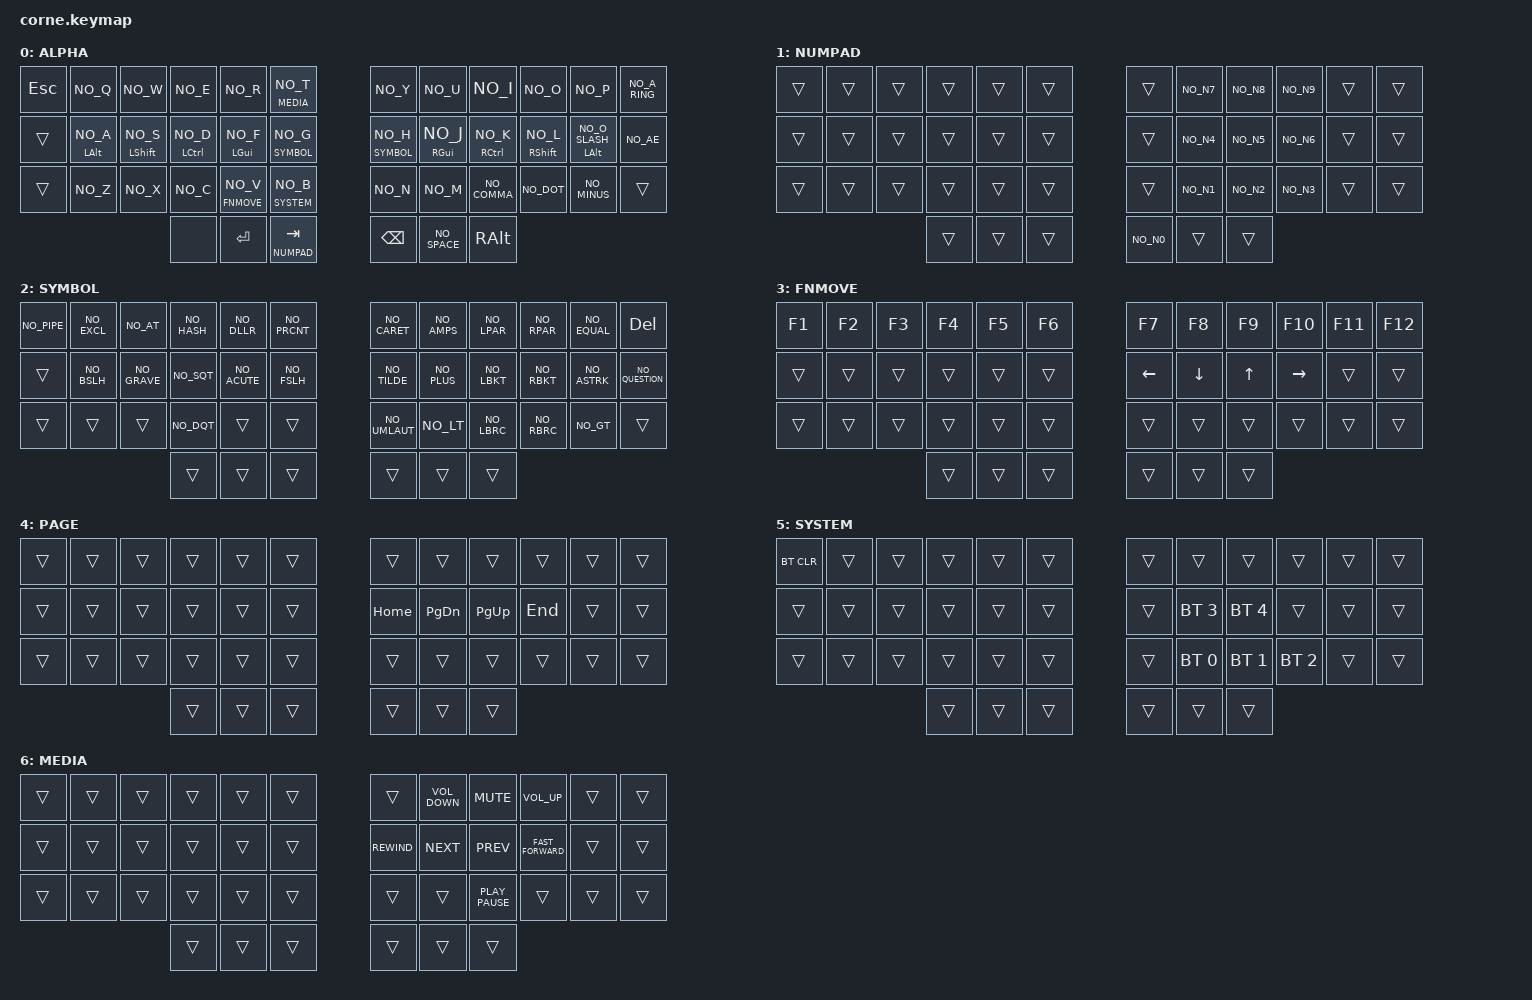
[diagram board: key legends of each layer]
/*
 * Copyright (c) 2020 The ZMK Contributors
 *
 * SPDX-License-Identifier: MIT
 */

#include <behaviors.dtsi>
#include <dt-bindings/zmk/keys.h>
#include <dt-bindings/zmk/bt.h>
#include "keys_no.h"

#define ALPHA  0
#define NUMPAD 1
#define SYMBOL 2
#define FNMOVE 3
#define PAGE 4
#define SYSTEM 5
#define MEDIA 6

/ {
    combos {
        compatible = "zmk,combos";
        combo_double_shift {
            timeout-ms = <50>;
            key-positions = <14 21>; // Position of left shift and right shift
            bindings = <&kp LSHIFT>;
        };
        combo_super_alt {
            timeout-ms = <50>;
            key-positions = <13 16>; // Position of left alt and left gui
            bindings = <&mo PAGE>;
        };
    };

    behaviors {
        hml: home_row_mod_left {
            compatible = "zmk,behavior-hold-tap";
            #binding-cells = <2>;
            flavor = "balanced";
            require-prior-idle-ms = <100>;
            tapping-term-ms = <280>;
            quick-tap-ms = <175>;
            bindings = <&kp>, <&kp>;
            hold-trigger-key-positions = < 6 7 8 9 10 11 18 19 20 21 22 23 30 31 32 33 34 35 39 40 41 >;
            hold-trigger-on-release;
        };
        hmr: home_row_mod_right {
            compatible = "zmk,behavior-hold-tap";
            #binding-cells = <2>;
            flavor = "balanced";
            require-prior-idle-ms = <100>;
            tapping-term-ms = <280>;
            quick-tap-ms = <175>;
            bindings = <&kp>, <&kp>;
            hold-trigger-key-positions = < 0 1 2 3 4 5 12 13 14 15 16 17 24 25 26 27 28 29 36 37 38 >;
            hold-trigger-on-release;
        };
    };

    keymap {
        compatible = "zmk,keymap";

        default_layer {
            display-name = "ALPHA";

// ----------------------------------------------------          ---------------------------------------------------
// | ESC |   Q   |    W    |   E    |   R   |    T    |          |   Y    |   U   |    I   |    O    |   P   |  Å  |
// |     |       |         |        |       | _MEDLR  |          |        |       |        |         |       |     |
// ----------------------------------------------------          ---------------------------------------------------
// |     |   A   |    S    |   D    |   F   |    G    |          |   H    |   J   |    K   |    L    |   Ø   |  Æ  |
// |     | _LALT | _LSHIFT | _LCTRL | _LGUI | _SYMLR  |          | _SYMLR | _RGUI | _RCTRL | _RSHIFT | _LALT |     |
// ----------------------------------------------------          ---------------------------------------------------
// |     |   Z   |    X    |   C    |   V   |    B    |          |   N    |   M   |    ,   |    .    |   -   |     |
// |     |       |         |        | _MOVE | _SYSLR  |          |        |       |        |         |       |     |
// ----------------------------------------------------          ---------------------------------------------------
//                         |        | ENTER |   TAB   |          |  BSPC  | SPACE | ALT GR |
//                         |        |       | _NUMPAD |          |        |       |        |
//                         ----------------------------          ---------------------------
           bindings = <

                                   &kp ESC &kp NO_Q &kp NO_W &kp NO_E &kp NO_R &lt MEDIA NO_T            &kp NO_Y &kp NO_U &kp NO_I &kp NO_O &kp NO_P &kp NO_A_RING

        &trans &hml LALT NO_A &hml LSHIFT NO_S &hml LCTRL NO_D &hml LGUI NO_F &lt SYMBOL NO_G            &lt SYMBOL NO_H &hmr RGUI NO_J &hmr RCTRL NO_K &hmr RSHIFT NO_L &hmr LALT NO_O_SLASH &kp NO_AE

                                   &trans &kp NO_Z &kp NO_X &kp NO_C &lt FNMOVE NO_V &lt SYSTEM NO_B            &kp NO_N &kp NO_M &kp NO_COMMA &kp NO_DOT &kp NO_MINUS &trans

                                                            &none &kp RET &lt NUMPAD TAB            &kp BSPC &kp NO_SPACE &kp RALT

            >;

        };


        numpad_layer {
            display-name = "NUMPAD";

// --------------------------------------          --------------------------------------
// |      |     |     |     |     |     |          |     |  7  |  8  |  9  |     |      |
// --------------------------------------          --------------------------------------
// |      |     |     |     |     |     |          |     |  4  |  5  |  6  |     |      |
// --------------------------------------          --------------------------------------
// |      |     |     |     |     |     |          |     |  1  |  2  |  3  |     |      |
// --------------------------------------          --------------------------------------
//                    |     |     |     |          |  0  |     |     |
//                    -------------------           -------------------
            bindings = <

&trans &trans &trans &trans &trans &trans           &trans &kp NO_N7 &kp NO_N8 &kp NO_N9 &trans &trans

&trans &trans &trans &trans &trans &trans           &trans &kp NO_N4 &kp NO_N5 &kp NO_N6 &trans &trans

&trans &trans &trans &trans &trans &trans           &trans &kp NO_N1 &kp NO_N2 &kp NO_N3 &trans &trans

                     &trans &trans &trans           &kp NO_N0 &trans &trans
            >;
        };

        symbol_layer {
            display-name = "SYMBOL";

// -------------------------------------          -------------------------------------
// | "|" |  !  |  @  |  #  |  $  |  %  |          |  ^  |  &  |  (  |  )  |  =  | DEL |
// -------------------------------------          -------------------------------------
// |     |  \  |  `  |  '  |  ´  |  /  |          |  ~  |  +  |  [  |  ]  |  *  |  ?  |
// -------------------------------------          -------------------------------------
// |     |     |     |  "  |     |     |          |  ¨  |  <  |  {  |  }  |  >  |     |
// -------------------------------------          -------------------------------------
//                   |     |     |     |          |     |     |     |
//                   -------------------          -------------------
            bindings = <

&kp NO_PIPE &kp NO_EXCL &kp NO_AT &kp NO_HASH &kp NO_DLLR &kp NO_PRCNT                  &kp NO_CARET &kp NO_AMPS &kp NO_LPAR &kp NO_RPAR &kp NO_EQUAL &kp DEL

   &trans &kp NO_BSLH &kp NO_GRAVE &kp NO_SQT &kp NO_ACUTE &kp NO_FSLH                  &kp NO_TILDE &kp NO_PLUS &kp NO_LBKT &kp NO_RBKT &kp NO_ASTRK &kp NO_QUESTION

                         &trans &trans &trans &kp NO_DQT &trans &trans                  &kp NO_UMLAUT &kp NO_LT &kp NO_LBRC &kp NO_RBRC &kp NO_GT &trans

                                                  &trans &trans &trans                  &trans &trans &trans

            >;
        };


        move_layer {
            display-name = "FNMOVE";

// --------------------------------------          ------------------------------------------
// |  F1  | F2  | F3  | F4  | F5  | F6  |          |  F7  |  F8  |  F9  |  F10  | F11 | F12 |
// --------------------------------------          ------------------------------------------
// |      |     |     |     |     |     |          | LEFT | DOWN |  UP  | RIGHT |     |     |
// --------------------------------------          ------------------------------------------
// |      |     |     |     |     |     |          |      |      |      |       |     |     |
// --------------------------------------          ------------------------------------------
//                    |     |     |     |          |      |      |      |
//                    -------------------          ----------------------
            bindings = <

&kp F1 &kp F2 &kp F3 &kp F4 &kp F5 &kp F6           &kp F7 &kp F8 &kp F9 &kp F10 &kp F11 &kp F12

&trans &trans &trans &trans &trans &trans           &kp LEFT &kp DOWN &kp UP &kp RIGHT &trans &trans

&trans &trans &trans &trans &trans &trans           &trans &trans &trans &trans &trans &trans

                     &trans &trans &trans           &trans &trans &trans
            >;
        };


        page_layer {
            display-name = "PAGE";

// --------------------------------------          ------------------------------------------
// |      |     |     |     |     |     |          |      |      |      |       |     |     |
// --------------------------------------          ------------------------------------------
// |      |     |     |     |     |     |          | HOME | P DN | P UP | END   |     |     |
// --------------------------------------          ------------------------------------------
// |      |     |     |     |     |     |          |      |      |      |       |     |     |
// --------------------------------------          ------------------------------------------
//                    |     |     |     |          |      |      |      |
//                    -------------------          ----------------------
            bindings = <

&trans &trans &trans &trans &trans &trans           &trans &trans &trans &trans &trans &trans

&trans &trans &trans &trans &trans &trans           &kp HOME &kp PAGE_DOWN &kp PAGE_UP &kp END &trans &trans

&trans &trans &trans &trans &trans &trans           &trans &trans &trans &trans &trans &trans

                     &trans &trans &trans           &trans &trans &trans
            >;
        };

        system_layer {
            display-name = "SYSTEM";

// --------------------------------------          ------------------------------------------
// | CLR  |     |     |     |     |     |          |      |      |      |       |     |     |
// --------------------------------------          ------------------------------------------
// |      |     |     |     |     |     |          |      |  P4  |  P5  |       |     |     |
// --------------------------------------          ------------------------------------------
// |      |     |     |     |     |     |          |      |  P1  |  P2  |  P3   |     |     |
// --------------------------------------          ------------------------------------------
//                    |     |     |     |          |      |      |      |
//                    -------------------          ----------------------
            bindings = <

&bt BT_CLR &trans &trans &trans &trans &trans           &trans &trans &trans &trans &trans &trans

    &trans &trans &trans &trans &trans &trans           &trans &bt BT_SEL 3 &bt BT_SEL 4 &trans &trans &trans

    &trans &trans &trans &trans &trans &trans           &trans &bt BT_SEL 0 &bt BT_SEL 1 &bt BT_SEL 2 &trans &trans

                         &trans &trans &trans           &trans &trans &trans
            >;
        };

        media_layer {
            display-name = "MEDIA";

// --------------------------------------          -------------------------------------------
// |      |     |     |     |     |     |          |      | vol_d | mute | vol_u |     |     |
// --------------------------------------          -------------------------------------------
// |      |     |     |     |     |     |          | rew  | next  | prev |  ff   |     |     |
// --------------------------------------          -------------------------------------------
// |      |     |     |     |     |     |          |      |       | play |       |     |     |
// --------------------------------------          -------------------------------------------
//                    |     |     |     |          |      |       |       |
//                    -------------------          ------------------------
            bindings = <

&trans &trans &trans &trans &trans &trans           &trans &kp K_VOLUME_DOWN &kp K_MUTE &kp K_VOLUME_UP &trans &trans

&trans &trans &trans &trans &trans &trans           &kp C_REWIND &kp K_NEXT &kp K_PREV &kp C_FAST_FORWARD &trans &trans

&trans &trans &trans &trans &trans &trans           &trans &trans &kp K_PLAY_PAUSE &trans &trans &trans

                     &trans &trans &trans           &trans &trans &trans
            >;
        };
    };
};
